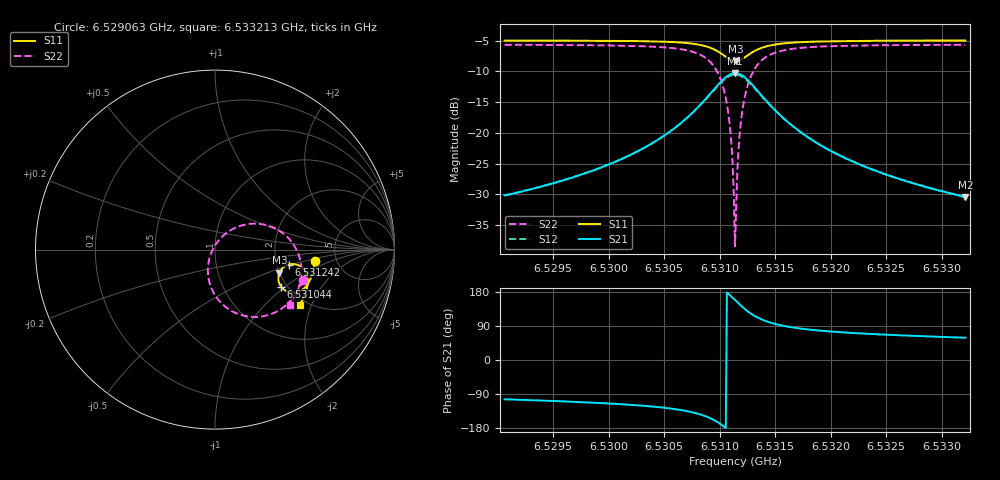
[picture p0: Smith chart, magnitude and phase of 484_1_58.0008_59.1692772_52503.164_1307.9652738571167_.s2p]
#  HZ  S  RI  R  50.00
! Rohde & Schwarz Vector Network Analyzer
! Rohde-Schwarz,ZNB20-2Port,1311601062101988,3.16
! Created: UTC 3/21/2024, 1:11:59 AM
! freq[Hz]  re:S11  im:S11  re:S21  im:S21  re:S12  im:S12  re:S22  im:S22
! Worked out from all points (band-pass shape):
!   401 points, 6.529063 GHz to 6.533213 GHz, reference 50 ohm
!   highest |S21| = -10.29 dB at 6.531138 GHz (marker M1); lowest = -30.4 dB at 6.533213 GHz (marker M2)
!   |S21| within 3 dB of the highest: 6.530932 GHz to 6.531347 GHz (415.1 kHz wide, 0.00636 % of centre)
!   lowest |S11| = -8.4 dB at 6.531148 GHz (marker M3), VSWR 2.23, Z = 100 - j30.1 ohm
!   |S11| at or under -10 dB: nowhere
!   |S22| runs from -38.4 to -5.7 dB; largest |S21 - S12| = 0.012
!   S11 on the Smith chart (normalised r, x): 6.529063 GHz: 3.42, -0.64; 6.531044 GHz: 1.86, -0.93; 6.531242 GHz: 2.33, -0.47; 6.533213 GHz: 1.82, -1.64
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6.5290627e9  0.5572 -0.0643  -0.00735 -0.0303  -0.00795 -0.03  0.4909 -0.168
6.5297579e9  0.5464 -0.122  -0.0168 -0.0429  -0.0178 -0.0426  0.4601 -0.2327
6.530453e9  0.5176 -0.1904  -0.0505 -0.0735  -0.0525 -0.0721  0.379 -0.3233
6.5306917e9  0.4904 -0.2202  -0.09 -0.0925  -0.0928 -0.0896  0.2986 -0.3639
6.5308681e9  0.4468 -0.239  -0.1578 -0.0988  -0.1601 -0.0925  0.1729 -0.3712
6.5309718e9  0.4023 -0.2335  -0.2267 -0.0723  -0.2261 -0.0631  0.0554 -0.3165
6.5310445e9  0.3679 -0.2061  -0.2778 -0.0141  -0.2722 -0.00438  -0.0221 -0.2101
6.531086e9  0.3551 -0.1782  -0.2937 0.0386  -0.2849 0.0464  -0.0398 -0.1198
6.5311067e9  0.353 -0.1619  -0.2942 0.0686  -0.2844 0.0747  -0.0359 -0.0703
6.5311171e9  0.3532 -0.1534  -0.2924 0.0838  -0.2821 0.0892  -0.0305 -0.0455
6.5311275e9  0.3542 -0.145  -0.2891 0.0988  -0.2783 0.1034  -0.0223 -0.0213
6.5311378e9  0.3563 -0.1366  -0.284 0.1137  -0.2732 0.1171  -0.0118 0.00229
6.5311482e9  0.3593 -0.1286  -0.2777 0.1281  -0.2669 0.1303  0.000977 0.0247
6.5311586e9  0.363 -0.1209  -0.2698 0.1415  -0.2592 0.1429  0.0159 0.0456
6.531169e9  0.3676 -0.1138  -0.2609 0.1542  -0.2504 0.1546  0.0325 0.0648
6.5311897e9  0.3786 -0.1013  -0.24 0.1757  -0.2303 0.1749  0.0702 0.0974
6.5312416e9  0.4118 -0.0831  -0.1795 0.208  -0.173 0.2047  0.1752 0.1408
6.5313142e9  0.4546 -0.0835  -0.104 0.21  -0.1006 0.2067  0.3022 0.1315
6.531418e9  0.492 -0.1061  -0.0393 0.1785  -0.0378 0.1769  0.4081 0.0647
6.531833e9  0.5173 -0.1863  0.0161 0.086  0.0171 0.0858  0.4816 -0.1279
6.5325282e9  0.4978 -0.2573  0.0179 0.0412  0.0187 0.0409  0.4535 -0.245
6.533213e9  0.4708 -0.3082  0.0156 0.0258  0.0161 0.0255  0.4187 -0.3061
